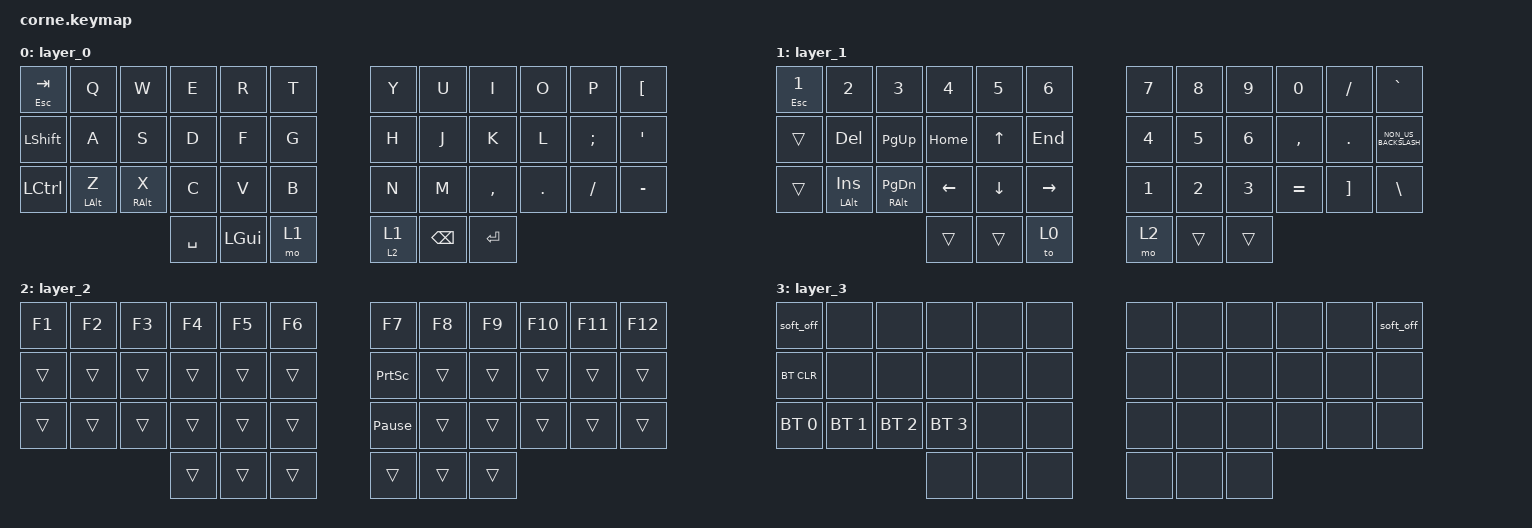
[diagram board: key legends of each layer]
/*
 * Copyright (c) 2020 The ZMK Contributors
 *
 * SPDX-License-Identifier: MIT
 */

#include <behaviors.dtsi>
#include <dt-bindings/zmk/bt.h>
#include <dt-bindings/zmk/keys.h>

/ {
    behaviors {
        holdtap: holdtap {
            compatible = "zmk,behavior-hold-tap";
            label = "HOLDTAP";
            bindings = <&kp>, <&kp>;

            #binding-cells = <2>;
            tapping-term-ms = <200>;
            flavor = "balanced";
            quick-tap-ms = <175>;
        };

        holdtaplayer: holdtaplayer {
            compatible = "zmk,behavior-hold-tap";
            label = "HOLDTAPLAYER";
            bindings = <&mo>, <&to>;

            #binding-cells = <2>;
            tapping-term-ms = <200>;
            quick-tap-ms = <175>;
            flavor = "balanced";
        };
    };

    combos {
        compatible = "zmk,combos";

        mo_layer3_left {
            bindings = <&mo 3>;
            key-positions = <38 36>;
        };

        mo_layer3_right {
            bindings = <&mo 3>;
            key-positions = <39 41>;
        };
    };

    keymap {
        compatible = "zmk,keymap";

        layer_0 {
            // -----------------------------------------------------------------------------------------
            // |  TAB |  Q  |  W  |  E  |  R  |  T  |   |  Y  |  U   |  I  |  O  |  P  | BSPC |
            // | CTRL |  A  |  S  |  D  |  F  |  G  |   |  H  |  J   |  K  |  L  |  ;  |  '   |
            // | SHFT |  Z  |  X  |  C  |  V  |  B  |   |  N  |  M   |  ,  |  .  |  /  | ESC  |
            //                    | GUI | LWR | SPC |   | ENT | RSE  | ALT |

            bindings = <
&holdtap ESCAPE TAB  &kp Q                &kp W                 &kp E      &kp R         &kp T    &kp Y              &kp U          &kp I      &kp O    &kp P          &kp LEFT_BRACKET
&kp LEFT_SHIFT       &kp A                &kp S                 &kp D      &kp F         &kp G    &kp H              &kp J          &kp K      &kp L    &kp SEMICOLON  &kp SINGLE_QUOTE
&kp LCTRL            &holdtap LEFT_ALT Z  &holdtap RIGHT_ALT X  &kp C      &kp V         &kp B    &kp N              &kp M          &kp COMMA  &kp DOT  &kp FSLH       &kp MINUS
                                                                &kp SPACE  &kp LEFT_GUI  &mo 1    &holdtaplayer 2 1  &kp BACKSPACE  &kp ENTER
            >;
        };

        layer_1 {
            bindings = <
&holdtap ESCAPE NUMBER_1  &kp NUMBER_2              &kp NUMBER_3                  &kp NUMBER_4    &kp NUMBER_5    &kp NUMBER_6       &kp NUMBER_7  &kp NUMBER_8  &kp NUMBER_9  &kp NUMBER_0  &kp SLASH          &kp GRAVE
&trans                    &kp DELETE                &kp PAGE_UP                   &kp HOME        &kp UP_ARROW    &kp END            &kp NUMBER_4  &kp NUMBER_5  &kp NUMBER_6  &kp COMMA     &kp PERIOD         &kp NON_US_BACKSLASH
&trans                    &holdtap LEFT_ALT INSERT  &holdtap RIGHT_ALT PAGE_DOWN  &kp LEFT_ARROW  &kp DOWN_ARROW  &kp RIGHT_ARROW    &kp NUMBER_1  &kp NUMBER_2  &kp NUMBER_3  &kp EQUAL     &kp RIGHT_BRACKET  &kp BACKSLASH
                                                                                  &trans          &trans          &to 0              &mo 2         &trans        &trans
            >;
        };

        layer_2 {
            bindings = <
&kp F1  &kp F2  &kp F3  &kp F4  &kp F5  &kp F6    &kp F7           &kp F8  &kp F9  &kp F10  &kp F11  &kp F12
&trans  &trans  &trans  &trans  &trans  &trans    &kp PRINTSCREEN  &trans  &trans  &trans   &trans   &trans
&trans  &trans  &trans  &trans  &trans  &trans    &kp PAUSE_BREAK  &trans  &trans  &trans   &trans   &trans
                        &trans  &trans  &trans    &trans           &trans  &trans
            >;
        };

        layer_3 {
            bindings = <
&soft_off     &none         &none         &none         &none  &none    &none  &none  &none  &none  &none  &soft_off
&bt BT_CLR    &none         &none         &none         &none  &none    &none  &none  &none  &none  &none  &none
&bt BT_SEL 0  &bt BT_SEL 1  &bt BT_SEL 2  &bt BT_SEL 3  &none  &none    &none  &none  &none  &none  &none  &none
                                          &none         &none  &none    &none  &none  &none
            >;
        };
    };
};
